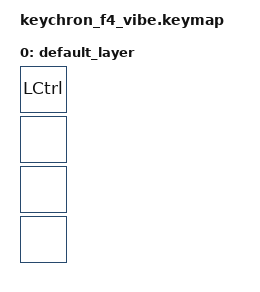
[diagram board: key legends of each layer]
#include <behaviors.dtsi>
#include <dt-bindings/zmk/keys.h>

/ {
    keymap {
        compatible = "zmk,keymap";

        default_layer {
            bindings = <
                &kp LCTRL
                &none
                &none
                &none
            >;
        };
    };
};
